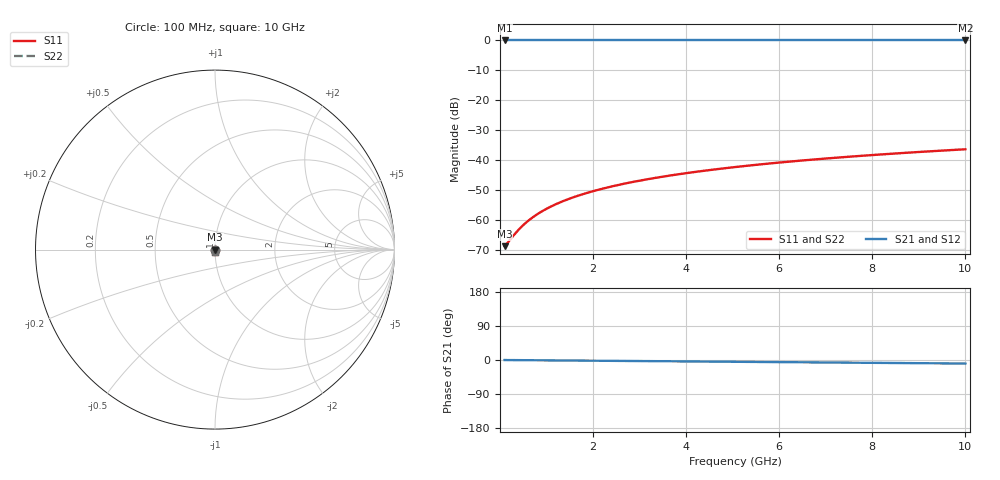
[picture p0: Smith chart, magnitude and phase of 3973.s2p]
# Hz S RI R 50.00
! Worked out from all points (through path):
!   100 points, 100 MHz to 10 GHz, reference 50 ohm
!   highest |S21| = 0.00 dB at 100 MHz (marker M1); lowest = 0.0 dB at 10 GHz (marker M2)
!   group delay of S21, straight-line fit = 2.59 ps
!   lowest |S11| = -68.7 dB at 100 MHz (marker M3), VSWR 1.00, Z = 50 - j0.0152 ohm
!   |S11| at or under -10 dB: start of sweep to end of sweep
!   |S22| runs from -68.7 to -36.3 dB; largest |S21 - S12| = 0
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1e8  0.000337 -0.000152  0.9997 -0.00162  0.9997 -0.00162  0.000337 -0.000152
2e8  0.000337 -0.000304  0.9997 -0.00324  0.9997 -0.00324  0.000337 -0.000304
3e8  0.000337 -0.000455  0.9996 -0.00485  0.9996 -0.00485  0.000337 -0.000455
4e8  0.000336 -0.000607  0.9996 -0.00647  0.9996 -0.00647  0.000336 -0.000607
5e8  0.000334 -0.000759  0.9996 -0.00809  0.9996 -0.00809  0.000334 -0.000759
6e8  0.000331 -0.000911  0.9996 -0.00971  0.9996 -0.00971  0.000331 -0.000911
7e8  0.000328 -0.00106  0.9996 -0.0113  0.9996 -0.0113  0.000328 -0.00106
8e8  0.000325 -0.00122  0.9996 -0.0129  0.9996 -0.0129  0.000325 -0.00122
1e9  0.000316 -0.00152  0.9995 -0.0162  0.9995 -0.0162  0.000316 -0.00152
1.2e9  0.000305 -0.00182  0.9994 -0.0194  0.9994 -0.0194  0.000305 -0.00182
1.5e9  0.000284 -0.00228  0.9993 -0.0243  0.9993 -0.0243  0.000284 -0.00228
1.8e9  0.000259 -0.00274  0.9992 -0.0291  0.9992 -0.0291  0.000259 -0.00274
2.1e9  0.00023 -0.0032  0.999 -0.034  0.999 -0.034  0.00023 -0.0032
2.5e9  0.000183 -0.00381  0.9988 -0.0405  0.9988 -0.0405  0.000183 -0.00381
2.9e9  0.000128 -0.00442  0.9985 -0.047  0.9985 -0.047  0.000128 -0.00442
3.4e9  4.84e-05 -0.00518  0.9981 -0.0551  0.9981 -0.0551  4.84e-05 -0.00518
4.2e9  -0.000106 -0.0064  0.9973 -0.068  0.9973 -0.068  -0.000106 -0.0064
5.1e9  -0.000317 -0.00778  0.9961 -0.0826  0.9961 -0.0826  -0.000317 -0.00778
5.9e9  -0.00054 -0.009  0.9949 -0.0956  0.9949 -0.0956  -0.00054 -0.009
6.7e9  -0.000794 -0.0102  0.9936 -0.1086  0.9936 -0.1086  -0.000794 -0.0102
8.4e9  -0.00144 -0.0128  0.9901 -0.1363  0.9901 -0.1363  -0.00144 -0.0128
1e10  -0.00218 -0.0151  0.9861 -0.1622  0.9861 -0.1622  -0.00218 -0.0151
